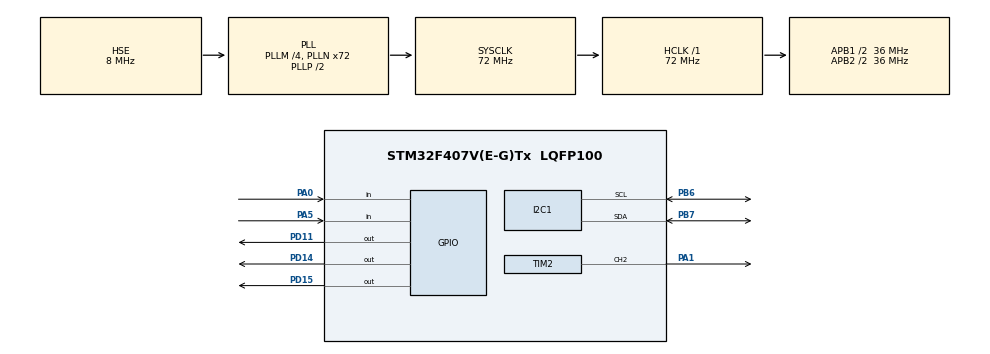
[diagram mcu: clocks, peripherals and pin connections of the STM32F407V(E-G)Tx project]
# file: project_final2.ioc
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Mcu.Family=STM32F4
Mcu.Name=STM32F407V(E-G)Tx
Mcu.Package=LQFP100
NVIC.PriorityGroup=NVIC_PRIORITYGROUP_0
PA0-WKUP.Signal=GPIO_Input
PA1.Signal=S_TIM2_CH2
PA13.Mode=Serial_Wire
PA13.Signal=SYS_JTMS-SWDIO
PA14.Mode=Serial_Wire
PA14.Signal=SYS_JTCK-SWCLK
PA5.Signal=GPIO_Input
PB6.Mode=I2C
PB6.Signal=I2C1_SCL
PB7.Mode=I2C
PB7.Signal=I2C1_SDA
PD11.Signal=GPIO_Output
PD14.Signal=GPIO_Output
PD15.Signal=GPIO_Output
PH0-OSC_IN.Mode=HSE-External-Oscillator
PH0-OSC_IN.Signal=RCC_OSC_IN
PH1-OSC_OUT.Mode=HSE-External-Oscillator
PH1-OSC_OUT.Signal=RCC_OSC_OUT
ProjectManager.HeapSize=0x200
ProjectManager.StackSize=0x400
ProjectManager.TargetToolchain=STM32CubeIDE
RCC.48MHZClocksFreq_Value=20571428.57142857
RCC.AHBFreq_Value=72000000
RCC.APB1CLKDivider=RCC_HCLK_DIV2
RCC.APB1Freq_Value=36000000
RCC.APB1TimFreq_Value=72000000
RCC.APB2CLKDivider=RCC_HCLK_DIV2
RCC.APB2Freq_Value=36000000
RCC.APB2TimFreq_Value=72000000
RCC.CortexFreq_Value=72000000
RCC.HCLKFreq_Value=72000000
RCC.HSE_VALUE=8000000
RCC.HSI_VALUE=16000000
RCC.LSE_VALUE=32768
RCC.PLLM=4
RCC.PLLN=72
RCC.PLLQ=7
RCC.PLLSourceVirtual=RCC_PLLSOURCE_HSE
RCC.SYSCLKFreq_VALUE=72000000
RCC.SYSCLKSource=RCC_SYSCLKSOURCE_PLLCLK
RCC.VCOOutputFreq_Value=144000000
SH.S_TIM2_CH2.0=TIM2_CH2,PWM Generation2 CH2
TIM2.Channel-PWM\ Generation2\ CH2=TIM_CHANNEL_2
TIM2.Period=9999
TIM2.Prescaler=15
VP_TIM2_VS_ClockSourceINT.Mode=Internal
board=STM32F407G-DISC1

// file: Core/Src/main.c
/* USER CODE BEGIN Header */
/**
  ******************************************************************************
  * @file           : main.c
  * @brief          : Main program body
  ******************************************************************************
  * @attention
  *
  * Copyright (c) 2024 STMicroelectronics.
  * All rights reserved.
  *
  * This software is licensed under terms that can be found in the LICENSE file
  * in the root directory of this software component.
  * If no LICENSE file comes with this software, it is provided AS-IS.
  *
  ******************************************************************************
  */
/* USER CODE END Header */
#include "main.h"

/* USER CODE BEGIN Includes */
#include <string.h>
#include <stdio.h>
#include "lcd16x2_i2c.h"

/* USER CODE END Includes */

I2C_HandleTypeDef hi2c1;

TIM_HandleTypeDef htim2;

void SystemClock_Config(void);
static void MX_GPIO_Init(void);
static void MX_I2C1_Init(void);
static void MX_TIM2_Init(void);
/* USER CODE BEGIN PFP */
uint8_t car_front_entering;
uint8_t car_back_exiting;
int slots = 2;
int S1 = 0, S2 = 0;
int flag1 = 0,flag2 = 0;

/* USER CODE END PFP */

int main(void)
{

  /* MCU Configuration--------------------------------------------------------*/

  /* Reset of all peripherals, Initializes the Flash interface and the Systick. */
  HAL_Init();

  /* Configure the system clock */
  SystemClock_Config();

  /* Initialize all configured peripherals */
  MX_GPIO_Init();
  MX_I2C1_Init();
  MX_TIM2_Init();
  /* USER CODE BEGIN 2 */
  if(lcd16x2_i2c_init(&hi2c1))
   {
 	  HAL_GPIO_WritePin(GPIOD, GPIO_PIN_14, SET);
   }
  HAL_TIM_PWM_Start(&htim2,TIM_CHANNEL_2);

  /* USER CODE END 2 */

  /* Infinite loop */
  while (1)
  {

    /* USER CODE BEGIN 3 */
	  car_front_entering = HAL_GPIO_ReadPin(GPIOA, GPIO_PIN_0);
	 	  car_back_exiting = HAL_GPIO_ReadPin(GPIOA, GPIO_PIN_5);
//	 	  readSensor();
	 	  lcd16x2_i2c_setCursor(0,0);
	 	   lcd16x2_i2c_printf(" Total slots = %d",slots);
	 	   lcd16x2_i2c_setCursor(1,0);
	 	   if(S1 == 1)
	 	   {
	 		   lcd16x2_i2c_printf("s1 = 1 ");
	 	   }
	 	   else
	 	   {
	 		   lcd16x2_i2c_printf("s1 = 0 ");
	 	   }
	 	   lcd16x2_i2c_setCursor(1,8);
	 	   if(S2 == 1)
	 	   {
	 		   lcd16x2_i2c_printf("s2 = 1 ");
	 	   }
	 	   else
	 	   {
	 		   lcd16x2_i2c_printf("s2 = 0 ");
	 	   }
	 	  if(car_front_entering == RESET && flag1 == 0 )//
	 	 	  	  {
	 	 //		   __HAL_TIM_SET_COMPARE(&htim2, TIM_CHANNEL_2,1250);
	 	 	  		  HAL_GPIO_WritePin(GPIOD, GPIO_PIN_12, SET);
	 	 	  		  if(slots>0)
	 	 	  		  {
	 	 	  			  flag1 = 1;

	 	 	  			  if(flag2 == 0)
	 	 	  			  {
	 	 	  			  __HAL_TIM_SET_COMPARE(&htim2, TIM_CHANNEL_2,1250);
	 	 	  			  slots = slots-1;

	 	 	  			  if (slots == 1)
						  	  S1 = 1;
	 	 	  			  else if(slots == 0)
	 	 	  				  S2 = 1;

	 	 	  			  }
	 	 	  			  HAL_Delay(1000);
	 	 //
	 	 	  		  }
	 	 	  		  else
	 	 	  		  	  {
	 	 	  			  HAL_GPIO_WritePin(GPIOD, GPIO_PIN_14, SET);
	 	 	  			  lcd16x2_i2c_setCursor(1,0);
	 	 	  			  lcd16x2_i2c_printf("  sorry no slot  ");

	 	 	  			  HAL_Delay(2000);

	 	 //	  			  __HAL_TIM_SET_COMPARE(&htim2, TIM_CHANNEL_2,250);
	 	 	  		  	  }
	 	 	  	  }
	 	 	  		if(car_back_exiting  == RESET && flag2 == 0)
	 	 	  			  {
	 	 	  				HAL_GPIO_WritePin(GPIOD, GPIO_PIN_12, SET);
	 	 	  				flag2 = 1;
	 	 	  				if(slots != 2)
	 	 	  				{
	 	 	  				  if(flag1 == 0)
	 	 	  				  {
	 	 	  					  __HAL_TIM_SET_COMPARE(&htim2, TIM_CHANNEL_2,1250);
	 	 	  					  HAL_Delay(1000);
	 	 	  					  slots = slots + 1;

	 	 	  					if (slots == 1)
	 	 	  						S1 = 0;
	 	 	  					else if(slots == 2)
	 	 	  						  S2 = 0;
	 	 	  				  }
	 	 	  				}
//	 	 	  				 else
//	 	 	  				  {
//	 	 	  					  lcd16x2_i2c_setCursor(1,0);
//	 	 	  					  lcd16x2_i2c_printf("space_available");
//	 	 	  					  HAL_Delay(2000);
//
//	 	 	  				  }

	 	 	  			  }

	 	 	  		if (flag1 == 1 && flag2 == 1)
	 	 	  			  {
	 	 	  		//		  HAL_Delay(500);
	 	 	  		//		  x=1250;
	 	 	  				  __HAL_TIM_SET_COMPARE(&htim2, TIM_CHANNEL_2,250);
	 	 	  				  HAL_Delay(1000);
	 	 	  				  flag1 = 0,flag2 = 0;

	 	 	  			  }
  }
  /* USER CODE END 3 */
}

void SystemClock_Config(void)
{
  RCC_OscInitTypeDef RCC_OscInitStruct = {0};
  RCC_ClkInitTypeDef RCC_ClkInitStruct = {0};

  /** Configure the main internal regulator output voltage
  */
  __HAL_RCC_PWR_CLK_ENABLE();
  __HAL_PWR_VOLTAGESCALING_CONFIG(PWR_REGULATOR_VOLTAGE_SCALE1);

  /** Initializes the RCC Oscillators according to the specified parameters
  * in the RCC_OscInitTypeDef structure.
  */
  RCC_OscInitStruct.OscillatorType = RCC_OSCILLATORTYPE_HSE;
  RCC_OscInitStruct.HSEState = RCC_HSE_ON;
  RCC_OscInitStruct.PLL.PLLState = RCC_PLL_ON;
  RCC_OscInitStruct.PLL.PLLSource = RCC_PLLSOURCE_HSE;
  RCC_OscInitStruct.PLL.PLLM = 4;
  RCC_OscInitStruct.PLL.PLLN = 72;
  RCC_OscInitStruct.PLL.PLLP = RCC_PLLP_DIV2;
  RCC_OscInitStruct.PLL.PLLQ = 7;
  if (HAL_RCC_OscConfig(&RCC_OscInitStruct) != HAL_OK)
  {
    Error_Handler();
  }

  /** Initializes the CPU, AHB and APB buses clocks
  */
  RCC_ClkInitStruct.ClockType = RCC_CLOCKTYPE_HCLK|RCC_CLOCKTYPE_SYSCLK
                              |RCC_CLOCKTYPE_PCLK1|RCC_CLOCKTYPE_PCLK2;
  RCC_ClkInitStruct.SYSCLKSource = RCC_SYSCLKSOURCE_PLLCLK;
  RCC_ClkInitStruct.AHBCLKDivider = RCC_SYSCLK_DIV1;
  RCC_ClkInitStruct.APB1CLKDivider = RCC_HCLK_DIV2;
  RCC_ClkInitStruct.APB2CLKDivider = RCC_HCLK_DIV2;

  if (HAL_RCC_ClockConfig(&RCC_ClkInitStruct, FLASH_LATENCY_2) != HAL_OK)
  {
    Error_Handler();
  }
}

static void MX_I2C1_Init(void)
{

  hi2c1.Instance = I2C1;
  hi2c1.Init.ClockSpeed = 100000;
  hi2c1.Init.DutyCycle = I2C_DUTYCYCLE_2;
  hi2c1.Init.OwnAddress1 = 0;
  hi2c1.Init.AddressingMode = I2C_ADDRESSINGMODE_7BIT;
  hi2c1.Init.DualAddressMode = I2C_DUALADDRESS_DISABLE;
  hi2c1.Init.OwnAddress2 = 0;
  hi2c1.Init.GeneralCallMode = I2C_GENERALCALL_DISABLE;
  hi2c1.Init.NoStretchMode = I2C_NOSTRETCH_DISABLE;
  if (HAL_I2C_Init(&hi2c1) != HAL_OK)
  {
    Error_Handler();
  }

}

static void MX_TIM2_Init(void)
{

  TIM_ClockConfigTypeDef sClockSourceConfig = {0};
  TIM_MasterConfigTypeDef sMasterConfig = {0};
  TIM_OC_InitTypeDef sConfigOC = {0};

  htim2.Instance = TIM2;
  htim2.Init.Prescaler = 72-1;
  htim2.Init.CounterMode = TIM_COUNTERMODE_UP;
  htim2.Init.Period = 9999;
  htim2.Init.ClockDivision = TIM_CLOCKDIVISION_DIV1;
  htim2.Init.AutoReloadPreload = TIM_AUTORELOAD_PRELOAD_DISABLE;
  if (HAL_TIM_Base_Init(&htim2) != HAL_OK)
  {
    Error_Handler();
  }
  sClockSourceConfig.ClockSource = TIM_CLOCKSOURCE_INTERNAL;
  if (HAL_TIM_ConfigClockSource(&htim2, &sClockSourceConfig) != HAL_OK)
  {
    Error_Handler();
  }
  if (HAL_TIM_PWM_Init(&htim2) != HAL_OK)
  {
    Error_Handler();
  }
  sMasterConfig.MasterOutputTrigger = TIM_TRGO_RESET;
  sMasterConfig.MasterSlaveMode = TIM_MASTERSLAVEMODE_DISABLE;
  if (HAL_TIMEx_MasterConfigSynchronization(&htim2, &sMasterConfig) != HAL_OK)
  {
    Error_Handler();
  }
  sConfigOC.OCMode = TIM_OCMODE_PWM1;
  sConfigOC.Pulse = 0;
  sConfigOC.OCPolarity = TIM_OCPOLARITY_HIGH;
  sConfigOC.OCFastMode = TIM_OCFAST_DISABLE;
  if (HAL_TIM_PWM_ConfigChannel(&htim2, &sConfigOC, TIM_CHANNEL_2) != HAL_OK)
  {
    Error_Handler();
  }
  HAL_TIM_MspPostInit(&htim2);

}

static void MX_GPIO_Init(void)
{
  GPIO_InitTypeDef GPIO_InitStruct = {0};

  /* GPIO Ports Clock Enable */
  __HAL_RCC_GPIOH_CLK_ENABLE();
  __HAL_RCC_GPIOA_CLK_ENABLE();
  __HAL_RCC_GPIOD_CLK_ENABLE();
  __HAL_RCC_GPIOB_CLK_ENABLE();

  /*Configure GPIO pin Output Level */
  HAL_GPIO_WritePin(GPIOD, GPIO_PIN_11|GPIO_PIN_14|GPIO_PIN_15, GPIO_PIN_RESET);

  /*Configure GPIO pins : PA0 PA5 */
  GPIO_InitStruct.Pin = GPIO_PIN_0|GPIO_PIN_5;
  GPIO_InitStruct.Mode = GPIO_MODE_INPUT;
  GPIO_InitStruct.Pull = GPIO_NOPULL;
  HAL_GPIO_Init(GPIOA, &GPIO_InitStruct);

  /*Configure GPIO pins : PD11 PD14 PD15 */
  GPIO_InitStruct.Pin = GPIO_PIN_11|GPIO_PIN_14|GPIO_PIN_15;
  GPIO_InitStruct.Mode = GPIO_MODE_OUTPUT_PP;
  GPIO_InitStruct.Pull = GPIO_NOPULL;
  GPIO_InitStruct.Speed = GPIO_SPEED_FREQ_LOW;
  HAL_GPIO_Init(GPIOD, &GPIO_InitStruct);

}

void Error_Handler(void)
{
  __disable_irq();
  while (1)
  {
  }
}
